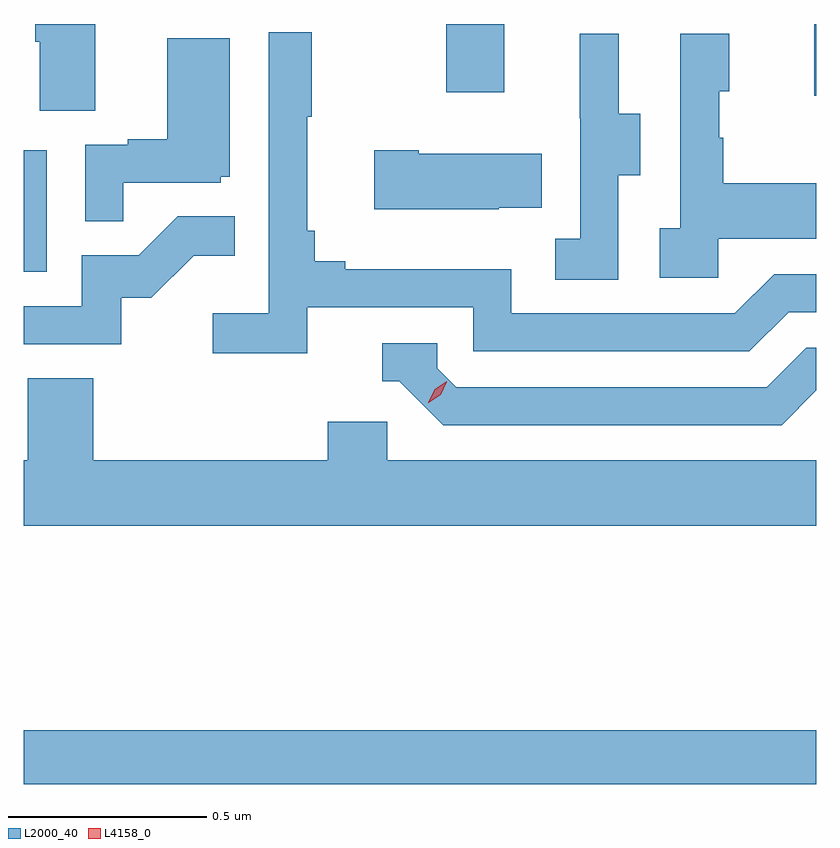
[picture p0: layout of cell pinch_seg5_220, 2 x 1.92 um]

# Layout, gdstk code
import gdstk
lib = gdstk.Library(unit=1e-6, precision=1e-09)
def R(c, l, rs):  # rectangles x0, y0, x1, y1
    for r in rs: c.add(gdstk.rectangle(r[:2], r[2:], *l))
def P(c, l, *ps):  # polygons
    for p in ps: c.add(gdstk.Polygon(p, *l))
L2000_40 = (2000, 40)
L4158_0 = (4158, 0)

pinch_seg5_220 = lib.new_cell('pinch_seg5_220')
R(pinch_seg5_220, L2000_40, [(964.404,897.4,966.404,897.536), (964.404,898.692,964.462,898.999), (966.398,899.136,966.404,899.317), (965.47,899.145,965.617,899.317)])
P(pinch_seg5_220, L2000_40, [(964.585,899.317),(964.433,899.317),(964.433,899.272),(964.445,899.272),(964.445,899.098),(964.585,899.098)],
  [(965.12,898.602),(965.538,898.602),(965.538,898.491),(966.235,898.491),(966.334,898.59),(966.404,898.59),(966.404,898.686),(966.297,898.686),(966.198,898.587),(965.634,898.587),(965.634,898.699),(965.215,898.699),(965.215,898.718),(965.138,898.718),(965.138,898.795),(965.119,898.795),(965.119,899.083),(965.131,899.083),(965.131,899.296),(965.022,899.296),(965.022,898.588),(964.881,898.588),(964.881,898.486),(965.12,898.486)],
  [(965.904,898.936),(965.959,898.936),(965.959,899.091),(965.905,899.091),(965.905,899.293),(965.807,899.293),(965.807,899.079),(965.808,899.079),(965.808,898.775),(965.745,898.775),(965.745,898.672),(965.904,898.672)],
  [(966.156,898.775),(966.404,898.775),(966.404,898.915),(966.169,898.915),(966.169,899.03),(966.159,899.03),(966.159,899.148),(966.184,899.148),(966.184,899.293),(966.06,899.293),(966.06,898.802),(966.009,898.802),(966.009,898.677),(966.156,898.677)],
  [(964.655,898.917),(964.902,898.917),(964.902,898.932),(964.924,898.932),(964.924,899.281),(964.766,899.281),(964.766,899.026),(964.667,899.026),(964.667,899.013),(964.56,899.013),(964.56,898.819),(964.655,898.819)],
  [(965.603,898.853),(965.711,898.853),(965.711,898.99),(965.401,898.99),(965.401,898.998),(965.289,898.998),(965.289,898.85),(965.603,898.85)],
  [(964.65,898.626),(964.726,898.626),(964.833,898.733),(964.937,898.733),(964.937,898.832),(964.793,898.832),(964.695,898.734),(964.551,898.734),(964.551,898.605),(964.404,898.605),(964.404,898.509),(964.65,898.509)],
  [(966.404,898.393),(966.404,898.5),(966.378,898.5),(966.279,898.401),(965.496,898.401),(965.448,898.449),(965.448,898.512),(965.309,898.512),(965.309,898.416),(965.352,898.416),(965.463,898.305),(966.316,898.305)],
  [(965.171,898.314),(965.171,898.216),(964.58,898.216),(964.58,898.424),(964.415,898.424),(964.415,898.216),(964.404,898.216),(964.404,898.052),(966.404,898.052),(966.404,898.216),(965.322,898.216),(965.322,898.314)])
P(pinch_seg5_220, L4158_0, [(965.425,898.362),(965.425,898.363),(965.441,898.396),(965.471,898.416),(965.471,898.416),(965.471,898.415),(965.456,898.382),(965.426,898.362)])

lib.write_gds('pinch_seg5_220.gds')
